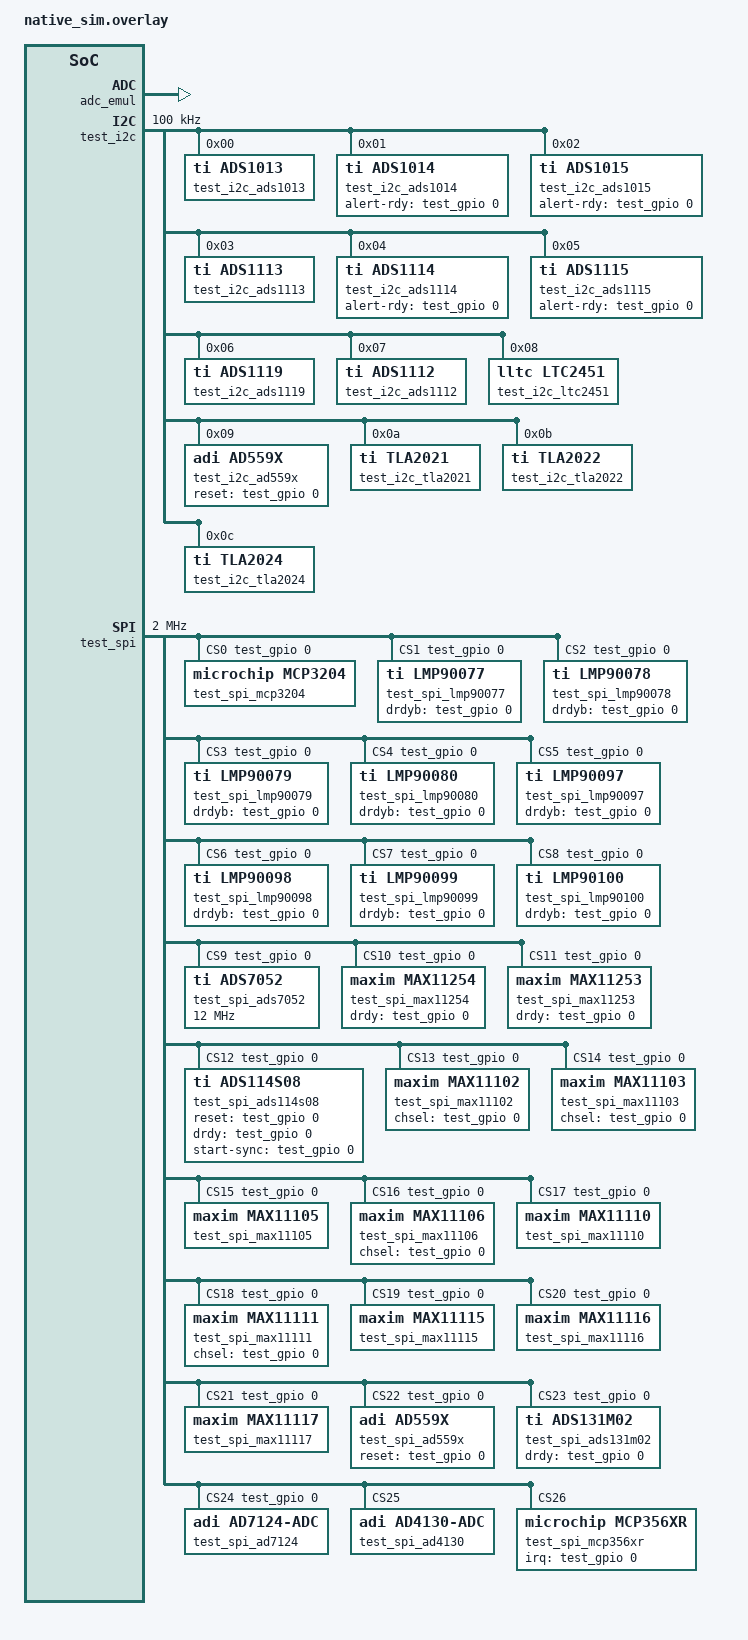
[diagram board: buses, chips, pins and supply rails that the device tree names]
/*
 * Copyright (c) 2020, Linaro Ltd.
 *
 * SPDX-License-Identifier: Apache-2.0
 *
 * Application overlay for testing driver builds
 *
 * Names in this file should be chosen in a way that won't conflict
 * with real-world devicetree nodes, to allow these tests to run on
 * (and be extended to test) real hardware.
 */

/ {
	test {
		#address-cells = <1>;
		#size-cells = <1>;

		adc_emul {
			compatible = "zephyr,adc-emul";
			nchannels = <2>;
			ref-internal-mv = <3300>;
			ref-external1-mv = <5000>;
			#io-channel-cells = <1>;
			status = "okay";
		};

		test_gpio: gpio@deadbeef {
			compatible = "vnd,gpio";
			gpio-controller;
			reg = <0xdeadbeef 0x1000>;
			#gpio-cells = <0x2>;
			status = "okay";
		};

		test_i2c: i2c@11112222 {
			#address-cells = <1>;
			#size-cells = <0>;
			compatible = "vnd,i2c";
			reg = <0x11112222 0x1000>;
			status = "okay";
			clock-frequency = <100000>;

			test_i2c_ads1013: ads1013@0 {
				compatible = "ti,ads1013";
				reg = <0x0>;
				#io-channel-cells = <1>;
			};

			test_i2c_ads1014: ads1014@1 {
				compatible = "ti,ads1014";
				reg = <0x1>;
				alert-rdy-gpios = <&test_gpio 0 0>;
				#io-channel-cells = <1>;
			};

			test_i2c_ads1015: ads1015@2 {
				compatible = "ti,ads1015";
				reg = <0x2>;
				alert-rdy-gpios = <&test_gpio 0 0>;
				#io-channel-cells = <1>;
			};

			test_i2c_ads1113: ads1113@3 {
				compatible = "ti,ads1113";
				reg = <0x3>;
				#io-channel-cells = <1>;
			};

			test_i2c_ads1114: ads1114@4 {
				compatible = "ti,ads1114";
				reg = <0x4>;
				alert-rdy-gpios = <&test_gpio 0 0>;
				#io-channel-cells = <1>;
			};

			test_i2c_ads1115: ads1115@5 {
				compatible = "ti,ads1115";
				reg = <0x5>;
				alert-rdy-gpios = <&test_gpio 0 0>;
				#io-channel-cells = <1>;
			};

			test_i2c_ads1119: ads1119@6 {
				compatible = "ti,ads1119";
				reg = <0x6>;
				#io-channel-cells = <1>;
			};

			test_i2c_ads1112: ads1112@7 {
				compatible = "ti,ads1112";
				reg = <0x7>;
				#io-channel-cells = <1>;
			};

			test_i2c_ltc2451: ltc2451@8 {
				compatible = "lltc,ltc2451";
				reg = <0x8>;
				conversion-speed = <60>;
				#io-channel-cells = <1>;
			};

			test_i2c_ad559x: ad559x@9 {
				compatible = "adi,ad559x";
				status = "okay";
				reg = <0x9>;
				#io-channel-cells = <1>;
				reset-gpios = <&test_gpio 0 0>;

				test_i2c_ad559x_adc: adc-controller {
					compatible = "adi,ad559x-adc";
					#io-channel-cells = <1>;
				};
			};

			test_i2c_tla2021: tla2021@a {
				compatible = "ti,tla2021";
				reg = <0xa>;
				#io-channel-cells = <1>;
			};

			test_i2c_tla2022: tla2022@b {
				compatible = "ti,tla2022";
				reg = <0xb>;
				#io-channel-cells = <1>;
			};

			test_i2c_tla2024: tla2024@c {
				compatible = "ti,tla2024";
				reg = <0xc>;
				#io-channel-cells = <1>;
			};
		};

		test_spi: spi@33334444 {
			#address-cells = <1>;
			#size-cells = <0>;
			compatible = "vnd,spi";
			reg = <0x33334444 0x1000>;
			status = "okay";
			clock-frequency = <2000000>;

			/* one entry for every devices at spi.dtsi */
			cs-gpios = <&test_gpio 0 0>,
				   <&test_gpio 0 0>,
				   <&test_gpio 0 0>,
				   <&test_gpio 0 0>,
				   <&test_gpio 0 0>,
				   <&test_gpio 0 0>,
				   <&test_gpio 0 0>,
				   <&test_gpio 0 0>,
				   <&test_gpio 0 0>,
				   <&test_gpio 0 0>,
				   <&test_gpio 0 0>,
				   <&test_gpio 0 0>,
				   <&test_gpio 0 0>,
				   <&test_gpio 0 0>,
				   <&test_gpio 0 0>,
				   <&test_gpio 0 0>,
				   <&test_gpio 0 0>,
				   <&test_gpio 0 0>,
				   <&test_gpio 0 0>,
				   <&test_gpio 0 0>,
				   <&test_gpio 0 0>,
				   <&test_gpio 0 0>,
				   <&test_gpio 0 0>,
				   <&test_gpio 0 0>,
				   <&test_gpio 0 0>;

			test_spi_mcp3204: mcp3204@0 {
				compatible = "microchip,mcp3204";
				reg = <0>;
				spi-max-frequency = <0>;
				#io-channel-cells = <1>;
			};

			test_spi_lmp90077: lmp90077@1 {
				compatible = "ti,lmp90077";
				reg = <0x1>;
				spi-max-frequency = <0>;
				drdyb-gpios = <&test_gpio 0 0>;
				#io-channel-cells = <1>;
			};

			test_spi_lmp90078: lmp90078@2 {
				compatible = "ti,lmp90078";
				reg = <0x2>;
				spi-max-frequency = <0>;
				drdyb-gpios = <&test_gpio 0 0>;
				#io-channel-cells = <1>;
			};

			test_spi_lmp90079: lmp90079@3 {
				compatible = "ti,lmp90079";
				reg = <0x3>;
				spi-max-frequency = <0>;
				drdyb-gpios = <&test_gpio 0 0>;
				#io-channel-cells = <1>;
			};

			test_spi_lmp90080: lmp90080@4 {
				compatible = "ti,lmp90080";
				reg = <0x4>;
				spi-max-frequency = <0>;
				drdyb-gpios = <&test_gpio 0 0>;
				#io-channel-cells = <1>;
			};

			test_spi_lmp90097: lmp90097@5 {
				compatible = "ti,lmp90097";
				reg = <0x5>;
				spi-max-frequency = <0>;
				drdyb-gpios = <&test_gpio 0 0>;
				#io-channel-cells = <1>;
			};

			test_spi_lmp90098: lmp90098@6 {
				compatible = "ti,lmp90098";
				reg = <0x6>;
				spi-max-frequency = <0>;
				drdyb-gpios = <&test_gpio 0 0>;
				#io-channel-cells = <1>;
			};

			test_spi_lmp90099: lmp90099@7 {
				compatible = "ti,lmp90099";
				reg = <0x7>;
				spi-max-frequency = <0>;
				drdyb-gpios = <&test_gpio 0 0>;
				#io-channel-cells = <1>;
			};

			test_spi_lmp90100: lmp90100@8 {
				compatible = "ti,lmp90100";
				reg = <0x8>;
				spi-max-frequency = <0>;
				drdyb-gpios = <&test_gpio 0 0>;
				#io-channel-cells = <1>;
			};

			test_spi_ads7052: ads7052@9 {
				compatible = "ti,ads7052";
				reg = <0x9>;
				spi-max-frequency = <12000000>;
				#io-channel-cells = <1>;
			};

			test_spi_max11254: max11254@a {
				compatible = "maxim,max11254";
				reg = <0xa>;
				spi-max-frequency = <0>;
				gpio0-enable;
				gpio1-enable;
				gpio0-direction;
				gpio1-direction;
				gpo0-enable;
				gpo1-enable;
				drdy-gpios = <&test_gpio 0 0>;
				self-calibration;
				#io-channel-cells = <1>;
			};

			test_spi_max11253: max11253@b {
				compatible = "maxim,max11253";
				reg = <0xb>;
				spi-max-frequency = <0>;
				gpio0-enable;
				gpio1-enable;
				gpio0-direction;
				gpio1-direction;
				gpo0-enable;
				gpo1-enable;
				drdy-gpios = <&test_gpio 0 0>;
				self-calibration;
				#io-channel-cells = <1>;
			};

			test_spi_ads114s08: ads114s08@c {
				compatible = "ti,ads114s08";
				reg = <0xc>;
				spi-max-frequency = <0>;
				#io-channel-cells = <1>;
				reset-gpios = <&test_gpio 0 0>;
				drdy-gpios = <&test_gpio 0 0>;
				start-sync-gpios = <&test_gpio 0 0>;
			};

			test_spi_max11102: max11102@d {
				compatible = "maxim,max11102";
				reg = <0xd>;
				spi-max-frequency = <0>;
				#io-channel-cells = <1>;
				chsel-gpios = <&test_gpio 0 0>;
			};

			test_spi_max11103: max11103@e {
				compatible = "maxim,max11103";
				reg = <0xe>;
				spi-max-frequency = <0>;
				#io-channel-cells = <1>;
				chsel-gpios = <&test_gpio 0 0>;
			};

			test_spi_max11105: max11105@f {
				compatible = "maxim,max11105";
				reg = <0xf>;
				spi-max-frequency = <0>;
				#io-channel-cells = <1>;
			};

			test_spi_max11106: max11106@10 {
				compatible = "maxim,max11106";
				reg = <0x10>;
				spi-max-frequency = <0>;
				#io-channel-cells = <1>;
				chsel-gpios = <&test_gpio 0 0>;
			};

			test_spi_max11110: max11110@11 {
				compatible = "maxim,max11110";
				reg = <0x11>;
				spi-max-frequency = <0>;
				#io-channel-cells = <1>;
			};

			test_spi_max11111: max11111@12 {
				compatible = "maxim,max11111";
				reg = <0x12>;
				spi-max-frequency = <0>;
				#io-channel-cells = <1>;
				chsel-gpios = <&test_gpio 0 0>;
			};

			test_spi_max11115: max11115@13 {
				compatible = "maxim,max11115";
				reg = <0x13>;
				spi-max-frequency = <0>;
				#io-channel-cells = <1>;
			};

			test_spi_max11116: max11116@14 {
				compatible = "maxim,max11116";
				reg = <0x14>;
				spi-max-frequency = <0>;
				#io-channel-cells = <1>;
			};

			test_spi_max11117: max11117@15 {
				compatible = "maxim,max11117";
				reg = <0x15>;
				spi-max-frequency = <0>;
				#io-channel-cells = <1>;
			};

			test_spi_ad559x: ad559x@16 {
				compatible = "adi,ad559x";
				status = "okay";
				reg = <0x16>;
				spi-max-frequency = <0>;
				reset-gpios = <&test_gpio 0 0>;

				test_spi_ad559x_adc: adc-controller {
					compatible = "adi,ad559x-adc";
					#io-channel-cells = <1>;
				};
			};

			test_spi_ads131m02: ads131m02@17 {
				compatible = "ti,ads131m02";
				reg = <0x17>;
				spi-max-frequency = <0>;
				#io-channel-cells = <1>;
				drdy-gpios = <&test_gpio 0 0>;
			};

			test_spi_ad7124: ad7124@18 {
				compatible = "adi,ad7124-adc";
				reg = <0x18>;
				spi-max-frequency = <0>;
				#io-channel-cells = <1>;
				active-device = <1>;
			};

			test_spi_ad4130: ad41304@19 {
				compatible = "adi,ad4130-adc";
				reg = <0x19>;
				spi-max-frequency = <0>;
				#io-channel-cells = <1>;
			};

			test_spi_mcp356xr: mcp356xr@18 {
				compatible = "microchip,mcp356xr";
				reg = <0x1a>;
				spi-max-frequency = <0>;
				#io-channel-cells = <1>;

				address = <1>;
				analog-clock-prescaler = <0>;
				boost-current-bias = <0>;
				irq-gpios = <&test_gpio 0 0>;
			};
		};
	};
};
